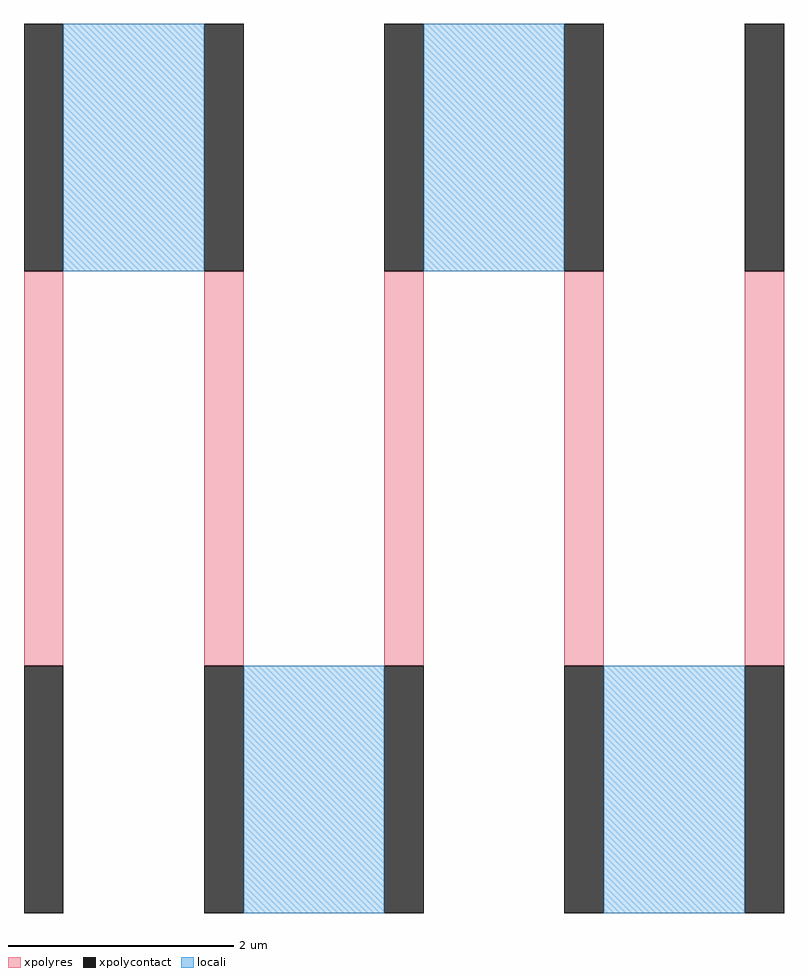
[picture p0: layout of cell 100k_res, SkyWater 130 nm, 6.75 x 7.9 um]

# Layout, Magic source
magic
tech sky130A
<< xpolycontact >>
rect -135 595 -100 815
rect -135 25 -100 245
rect 25 595 60 815
rect 25 25 60 245
rect 185 595 220 815
rect 185 25 220 245
rect 345 595 380 815
rect 345 25 380 245
rect 505 595 540 815
rect 505 25 540 245
<< xpolyres >>
rect -135 245 -100 595
rect 25 245 60 595
rect 185 245 220 595
rect 345 245 380 595
rect 505 245 540 595
<< locali >>
rect -100 595 25 815
rect 220 595 345 815
rect 60 25 185 245
rect 380 25 505 245
<< end >>
